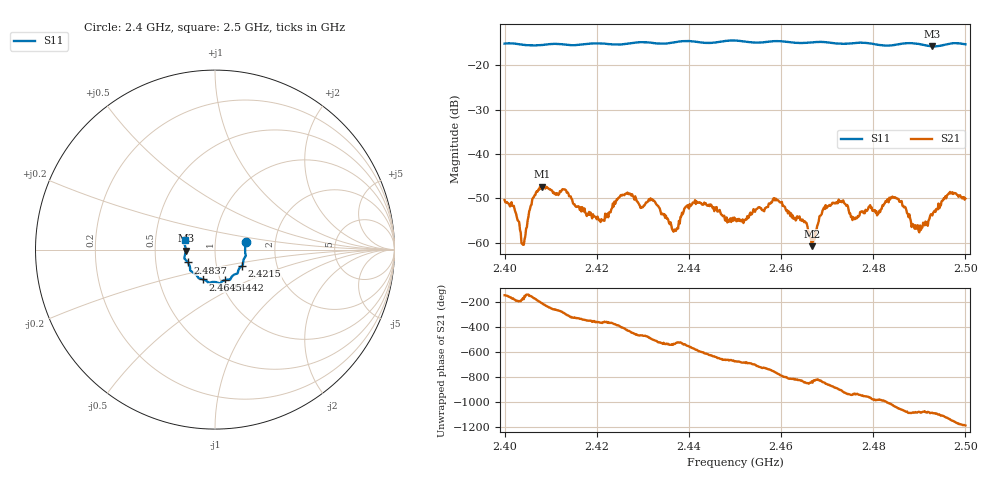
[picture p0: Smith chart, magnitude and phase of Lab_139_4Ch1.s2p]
# Hz S RI R 50
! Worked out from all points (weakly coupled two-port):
!   601 points, 2.4 GHz to 2.5 GHz, reference 50 ohm
!   highest |S21| = -47.36 dB at 2.4082 GHz (marker M1); lowest = -60.8 dB at 2.4667 GHz (marker M2)
!   lowest |S11| = -15.7 dB at 2.4928 GHz (marker M3), VSWR 1.39, Z = 35.9 - j0.374 ohm
!   |S11| at or under -10 dB: start of sweep to end of sweep
!   S12 and S22 are empty: the file has one direction only
!   S11 on the Smith chart (normalised r, x): 2.4 GHz: 1.41, +0.12; 2.4215 GHz: 1.33, -0.25; 2.4442 GHz: 1.05, -0.37; 2.4645 GHz: 0.83, -0.29; 2.4837 GHz: 0.73, -0.11; 2.5 GHz: 0.71, +0.07
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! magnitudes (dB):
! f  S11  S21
! 2.4 GHz  -15.1  -50.4
! 2.404 GHz  -15.4  -60.5
! 2.406 GHz  -15.5  -50.2
! 2.4082 GHz  -15.4  -47.4
! 2.4167 GHz  -15.3  -53.0
! 2.4215 GHz  -15.1  -55.0
! 2.4262 GHz  -15.2  -49.0
! 2.4333 GHz  -15.1  -51.8
! 2.4368 GHz  -14.8  -57.0
! 2.4393 GHz  -14.5  -51.9
! 2.4442 GHz  -15.0  -51.6
! 2.45 GHz  -14.4  -54.6
! 2.4588 GHz  -14.5  -50.1
! 2.4645 GHz  -15.0  -55.1
! 2.4667 GHz  -14.8  -60.8
! 2.471 GHz  -14.9  -51.3
! 2.476 GHz  -15.0  -54.7
! 2.4833 GHz  -15.6  -50.9
! 2.4837 GHz  -15.5  -50.3
! 2.4895 GHz  -15.1  -56.5
! 2.4928 GHz  -15.7  -53.9
! 2.5 GHz  -15.3  -50.1
